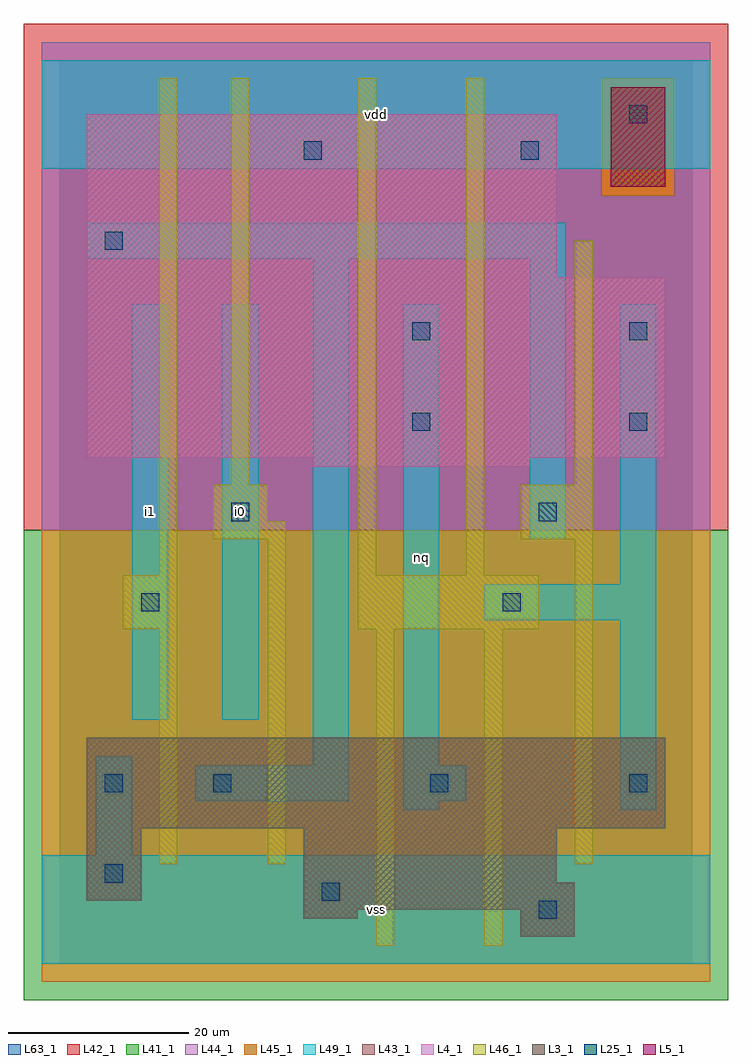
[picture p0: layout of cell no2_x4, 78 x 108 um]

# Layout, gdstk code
import gdstk
lib = gdstk.Library(unit=1e-6, precision=1e-09)
def R(c, l, rs):  # rectangles x0, y0, x1, y1
    for r in rs: c.add(gdstk.rectangle(r[:2], r[2:], *l))
L3_1 = (3, 1)
L4_1 = (4, 1)
L5_1 = (5, 1)
L25_1 = (25, 1)
L41_1 = (41, 1)
L42_1 = (42, 1)
L43_1 = (43, 1)
L44_1 = (44, 1)
L45_1 = (45, 1)
L46_1 = (46, 1)
L49_1 = (49, 1)
L63_1 = (63, 1)

no2_x4 = lib.new_cell('no2_x4')
R(no2_x4, L3_1, [(51,3,57,6), (27,5,33,6), (27,6,57,9), (3,7,9,15), (27,9,55,15), (3,15,67,25)])
R(no2_x4, L4_1, [(28,55,52,56), (3,56,67,76), (3,76,55,94)])
R(no2_x4, L5_1, [(61,86,67,97)])
R(no2_x4, L25_1, [(53,5,55,7), (29,7,31,9), (5,9,7,11), (5,19,7,21), (17,19,19,21), (41,19,43,21), (63,19,65,21), (9,39,11,41), (49,39,51,41), (19,49,21,51), (53,49,55,51), (39,59,41,61), (63,59,65,61), (39,69,41,71), (63,69,65,71), (5,79,7,81), (27,89,29,91), (51,89,53,91), (63,93,65,95)])
R(no2_x4, L41_1, [(-4,-4,74,48)])
R(no2_x4, L42_1, [(-4,48,74,104)])
R(no2_x4, L43_1, [(51,3,57,6), (27,5,33,6), (27,6,57,9), (3,7,9,15), (27,9,55,15), (3,15,67,25), (28,55,52,56), (3,56,67,76), (3,76,55,94), (61,86,67,97)])
R(no2_x4, L44_1, [(-2,48,72,85), (-2,85,60,98), (68,85,72,98), (-2,98,72,102)])
R(no2_x4, L45_1, [(-2,-2,72,48), (60,85,68,98)])
R(no2_x4, L46_1, [(35,2,37,37), (47,2,49,37), (11,11,13,37), (23,11,25,47), (57,11,59,47), (7,37,13,43), (33,37,53,43), (11,43,13,98), (33,43,35,98), (45,43,47,98), (17,47,25,49), (51,47,59,53), (17,49,23,53), (19,53,21,98), (57,53,59,80)])
R(no2_x4, L49_1, [(-2,0,72,12), (4,12,8,23), (38,17,42,18), (62,17,66,38), (15,18,32,22), (38,18,45,22), (28,22,32,78), (38,22,42,73), (8,27,12,73), (18,27,22,73), (47,38,66,42), (62,42,66,73), (52,47,56,78), (3,78,56,82), (-2,88,72,100)])
R(no2_x4, L63_1, [(0,0,70,100)])
no2_x4.add(gdstk.Label('i1', (10,50), layer=49, texttype=1))
no2_x4.add(gdstk.Label('i0', (20,50), layer=49, texttype=1))
no2_x4.add(gdstk.Label('vss', (35,6), layer=49, texttype=1))
no2_x4.add(gdstk.Label('nq', (40,45), layer=49, texttype=1))
no2_x4.add(gdstk.Label('vdd', (35,94), layer=49, texttype=1))

lib.write_gds('no2_x4.gds')
